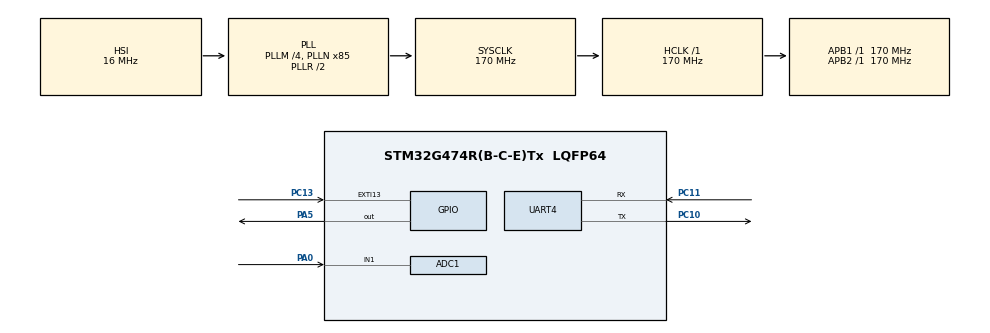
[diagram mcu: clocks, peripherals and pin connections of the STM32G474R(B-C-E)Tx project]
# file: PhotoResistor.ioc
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ADC1.Channel-0\#ChannelRegularConversion=ADC_CHANNEL_1
ADC1.ContinuousConvMode=ENABLE
ADC1.NbrOfConversionFlag=1
ADC1.OffsetNumber-0\#ChannelRegularConversion=ADC_OFFSET_NONE
ADC1.Rank-0\#ChannelRegularConversion=1
ADC1.SamplingTime-0\#ChannelRegularConversion=ADC_SAMPLETIME_12CYCLES_5
ADC1.master=1
Mcu.Family=STM32G4
Mcu.Name=STM32G474R(B-C-E)Tx
Mcu.Package=LQFP64
NUCLEO-G474RE.BUTTON=1
NUCLEO-G474RE.LD2=true
NUCLEO-G474RE.VCP=true
NVIC.EXTI15_10_IRQn=true\:0\:0\:false\:false\:true\:true\:true\:true
NVIC.PriorityGroup=NVIC_PRIORITYGROUP_4
PA0.Mode=IN1-Single-Ended
PA0.Signal=ADC1_IN1
PA13.GPIO_Label=T_SWDIO
PA13.Signal=SYS_JTMS-SWDIO
PA14.GPIO_Label=T_SWCLK
PA14.Signal=SYS_JTCK-SWCLK
PA2.Signal=LPUART1_TX
PA3.Signal=LPUART1_RX
PA5.Signal=GPIO_Output
PB3.GPIO_Label=T_SWO
PB3.Signal=SYS_JTDO-SWO
PC10.Mode=Asynchronous
PC10.Signal=UART4_TX
PC11.Mode=Asynchronous
PC11.Signal=UART4_RX
PC13.Signal=GPXTI13
PC14-OSC32_IN.GPIO_Label=RCC_OSC32_IN
PC14-OSC32_IN.Signal=RCC_OSC32_IN
PC15-OSC32_OUT.GPIO_Label=RCC_OSC32_OUT
PC15-OSC32_OUT.Signal=RCC_OSC32_OUT
PF0-OSC_IN.GPIO_Label=RCC_OSC_IN
PF0-OSC_IN.Signal=RCC_OSC_IN
PF1-OSC_OUT.GPIO_Label=RCC_OSC_OUT
PF1-OSC_OUT.Signal=RCC_OSC_OUT
ProjectManager.HeapSize=0x200
ProjectManager.StackSize=0x400
ProjectManager.TargetToolchain=STM32CubeIDE
RCC.ADC12Freq_Value=170000000
RCC.ADC345Freq_Value=170000000
RCC.AHBFreq_Value=170000000
RCC.APB1Freq_Value=170000000
RCC.APB1TimFreq_Value=170000000
RCC.APB2Freq_Value=170000000
RCC.APB2TimFreq_Value=170000000
RCC.CortexFreq_Value=170000000
RCC.EXTERNAL_CLOCK_VALUE=12288000
RCC.HCLKFreq_Value=170000000
RCC.HSE_VALUE=24000000
RCC.HSI48_VALUE=48000000
RCC.HSI_VALUE=16000000
RCC.LSE_VALUE=32768
RCC.PLLM=RCC_PLLM_DIV4
RCC.PLLN=85
RCC.RTCClockSelection=RCC_RTCCLKSOURCE_LSE
RCC.SYSCLKFreq_VALUE=170000000
RCC.SYSCLKSource=RCC_SYSCLKSOURCE_PLLCLK
RCC.USBFreq_Value=170000000
RCC.VCOOutputFreq_Value=340000000
VP_NUCLEO-G474RE_VS_BSP_COMMON.Mode=COMMON
VP_SYS_VS_DBSignals.Mode=DisableDeadBatterySignals
board=NUCLEO-G474RE

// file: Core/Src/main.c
/* USER CODE BEGIN Header */
/**
  ******************************************************************************
  * @file           : main.c
  * @brief          : Main program body
  ******************************************************************************
  * @attention
  *
  * Copyright (c) 2025 STMicroelectronics.
  * All rights reserved.
  *
  * This software is licensed under terms that can be found in the LICENSE file
  * in the root directory of this software component.
  * If no LICENSE file comes with this software, it is provided AS-IS.
  *
  ******************************************************************************
  */
/* USER CODE END Header */
#include "main.h"

/* USER CODE BEGIN Includes */
#include <string.h>
#include <stdlib.h>
#include <stdbool.h>
/* USER CODE END Includes */

/* USER CODE BEGIN PD */
#define SENSOR_ID "PHOTO1"
#define LOG_INTERVAL_MS 500
#define CRC8_POLYNOMIAL 0x07
/* USER CODE END PD */

COM_InitTypeDef BspCOMInit;
ADC_HandleTypeDef hadc1;

UART_HandleTypeDef huart4;

void SystemClock_Config(void);
static void MX_GPIO_Init(void);
static void MX_ADC1_Init(void);
static void MX_UART4_Init(void);

/* USER CODE BEGIN 0 */
uint8_t calculate_crc8(const uint8_t *data, size_t length) {
    uint8_t crc = 0x00;

    for (size_t i = 0; i < length; i++) {
        crc ^= data[i];
        for (uint8_t bit = 0; bit < 8; bit++) {
            if (crc & 0x80) {
                crc = (crc << 1) ^ CRC8_POLYNOMIAL;
            } else {
                crc <<= 1;
            }
        }
    }

    return crc;
}

uint32_t get_timestamp() {
    /*static uint32_t start_time = 0;
    if (start_time == 0) {
        start_time = HAL_GetTick();
    }
    return HAL_GetTick() - start_time;*/
	return HAL_GetTick();
}
/* USER CODE END 0 */

int main(void)
{

  /* MCU Configuration--------------------------------------------------------*/

  /* Reset of all peripherals, Initializes the Flash interface and the Systick. */
  HAL_Init();

  /* Configure the system clock */
  SystemClock_Config();

  /* Initialize all configured peripherals */
  MX_GPIO_Init();
  MX_ADC1_Init();
  MX_UART4_Init();
  /* USER CODE BEGIN 2 */
  uint16_t adc_value;
  char uart_msg[50];
  /* USER CODE END 2 */

  /* Initialize led */
  BSP_LED_Init(LED_GREEN);

  /* Initialize USER push-button, will be used to trigger an interrupt each time it's pressed.*/
  BSP_PB_Init(BUTTON_USER, BUTTON_MODE_EXTI);

  /* Initialize COM1 port (115200, 8 bits (7-bit data + 1 stop bit), no parity */
  BspCOMInit.BaudRate   = 115200;
  BspCOMInit.WordLength = COM_WORDLENGTH_8B;
  BspCOMInit.StopBits   = COM_STOPBITS_1;
  BspCOMInit.Parity     = COM_PARITY_NONE;
  BspCOMInit.HwFlowCtl  = COM_HWCONTROL_NONE;
  if (BSP_COM_Init(COM1, &BspCOMInit) != BSP_ERROR_NONE)
  {
    Error_Handler();
  }

  /* Infinite loop */
  /* USER CODE BEGIN WHILE */
  uint32_t log_index = 0;
  while (1)
  {

	  HAL_ADC_Start(&hadc1);
	  uint16_t adc_value = HAL_ADC_GetValue(&hadc1);
	  HAL_ADC_Stop(&hadc1);

	      // Process value
	  uint16_t corrected_value = 4095 - adc_value;
	  uint32_t timestamp = get_timestamp();

	      // Format data packet - increased buffer sizes
	  char data_packet[60];  // Increased from 50
	  int packet_len = snprintf(data_packet, sizeof(data_packet),
	                              "%lu,%lu,%s,%hu",
	                              log_index++,
	                              timestamp,
	                              SENSOR_ID,
	                              corrected_value);

	      // Calculate CRC
	  uint8_t crc = calculate_crc8((uint8_t*)data_packet, packet_len);

	      // Final packet - increased buffer size
	  char final_packet[70];  // Increased from 60
	  int final_len = snprintf(final_packet, sizeof(final_packet),
	                            "[%s]*%02X\r\n",  // Added \r for Windows compatibility
	                            data_packet,
	                            crc);

	      // Transmit with error checking
	  HAL_StatusTypeDef status = HAL_UART_Transmit(&huart4,
	                                                 (uint8_t*)final_packet,
	                                                 final_len,  // Use final_len instead of strlen
	                                                 HAL_MAX_DELAY);

	  if (status != HAL_OK) {
	          // Handle transmission error (e.g., toggle LED)
		  BSP_LED_Toggle(LED_GREEN);
	  }

	  HAL_Delay(LOG_INTERVAL_MS);

    /* USER CODE END WHILE */

  }
}

void SystemClock_Config(void)
{
  RCC_OscInitTypeDef RCC_OscInitStruct = {0};
  RCC_ClkInitTypeDef RCC_ClkInitStruct = {0};

  /** Configure the main internal regulator output voltage
  */
  HAL_PWREx_ControlVoltageScaling(PWR_REGULATOR_VOLTAGE_SCALE1_BOOST);

  /** Initializes the RCC Oscillators according to the specified parameters
  * in the RCC_OscInitTypeDef structure.
  */
  RCC_OscInitStruct.OscillatorType = RCC_OSCILLATORTYPE_HSI;
  RCC_OscInitStruct.HSIState = RCC_HSI_ON;
  RCC_OscInitStruct.HSICalibrationValue = RCC_HSICALIBRATION_DEFAULT;
  RCC_OscInitStruct.PLL.PLLState = RCC_PLL_ON;
  RCC_OscInitStruct.PLL.PLLSource = RCC_PLLSOURCE_HSI;
  RCC_OscInitStruct.PLL.PLLM = RCC_PLLM_DIV4;
  RCC_OscInitStruct.PLL.PLLN = 85;
  RCC_OscInitStruct.PLL.PLLP = RCC_PLLP_DIV2;
  RCC_OscInitStruct.PLL.PLLQ = RCC_PLLQ_DIV2;
  RCC_OscInitStruct.PLL.PLLR = RCC_PLLR_DIV2;
  if (HAL_RCC_OscConfig(&RCC_OscInitStruct) != HAL_OK)
  {
    Error_Handler();
  }

  /** Initializes the CPU, AHB and APB buses clocks
  */
  RCC_ClkInitStruct.ClockType = RCC_CLOCKTYPE_HCLK|RCC_CLOCKTYPE_SYSCLK
                              |RCC_CLOCKTYPE_PCLK1|RCC_CLOCKTYPE_PCLK2;
  RCC_ClkInitStruct.SYSCLKSource = RCC_SYSCLKSOURCE_PLLCLK;
  RCC_ClkInitStruct.AHBCLKDivider = RCC_SYSCLK_DIV1;
  RCC_ClkInitStruct.APB1CLKDivider = RCC_HCLK_DIV1;
  RCC_ClkInitStruct.APB2CLKDivider = RCC_HCLK_DIV1;

  if (HAL_RCC_ClockConfig(&RCC_ClkInitStruct, FLASH_LATENCY_4) != HAL_OK)
  {
    Error_Handler();
  }
}

static void MX_ADC1_Init(void)
{

  ADC_MultiModeTypeDef multimode = {0};
  ADC_ChannelConfTypeDef sConfig = {0};

  /** Common config
  */
  hadc1.Instance = ADC1;
  hadc1.Init.ClockPrescaler = ADC_CLOCK_SYNC_PCLK_DIV4;
  hadc1.Init.Resolution = ADC_RESOLUTION_12B;
  hadc1.Init.DataAlign = ADC_DATAALIGN_RIGHT;
  hadc1.Init.GainCompensation = 0;
  hadc1.Init.ScanConvMode = ADC_SCAN_DISABLE;
  hadc1.Init.EOCSelection = ADC_EOC_SINGLE_CONV;
  hadc1.Init.LowPowerAutoWait = DISABLE;
  hadc1.Init.ContinuousConvMode = ENABLE;
  hadc1.Init.NbrOfConversion = 1;
  hadc1.Init.DiscontinuousConvMode = DISABLE;
  hadc1.Init.ExternalTrigConv = ADC_SOFTWARE_START;
  hadc1.Init.ExternalTrigConvEdge = ADC_EXTERNALTRIGCONVEDGE_NONE;
  hadc1.Init.DMAContinuousRequests = DISABLE;
  hadc1.Init.Overrun = ADC_OVR_DATA_PRESERVED;
  hadc1.Init.OversamplingMode = DISABLE;
  if (HAL_ADC_Init(&hadc1) != HAL_OK)
  {
    Error_Handler();
  }

  /** Configure the ADC multi-mode
  */
  multimode.Mode = ADC_MODE_INDEPENDENT;
  if (HAL_ADCEx_MultiModeConfigChannel(&hadc1, &multimode) != HAL_OK)
  {
    Error_Handler();
  }

  /** Configure Regular Channel
  */
  sConfig.Channel = ADC_CHANNEL_1;
  sConfig.Rank = ADC_REGULAR_RANK_1;
  sConfig.SamplingTime = ADC_SAMPLETIME_12CYCLES_5;
  sConfig.SingleDiff = ADC_SINGLE_ENDED;
  sConfig.OffsetNumber = ADC_OFFSET_NONE;
  sConfig.Offset = 0;
  if (HAL_ADC_ConfigChannel(&hadc1, &sConfig) != HAL_OK)
  {
    Error_Handler();
  }

}

static void MX_UART4_Init(void)
{

  huart4.Instance = UART4;
  huart4.Init.BaudRate = 115200;
  huart4.Init.WordLength = UART_WORDLENGTH_8B;
  huart4.Init.StopBits = UART_STOPBITS_1;
  huart4.Init.Parity = UART_PARITY_NONE;
  huart4.Init.Mode = UART_MODE_TX_RX;
  huart4.Init.HwFlowCtl = UART_HWCONTROL_NONE;
  huart4.Init.OverSampling = UART_OVERSAMPLING_16;
  huart4.Init.OneBitSampling = UART_ONE_BIT_SAMPLE_DISABLE;
  huart4.Init.ClockPrescaler = UART_PRESCALER_DIV1;
  huart4.AdvancedInit.AdvFeatureInit = UART_ADVFEATURE_NO_INIT;
  if (HAL_UART_Init(&huart4) != HAL_OK)
  {
    Error_Handler();
  }
  if (HAL_UARTEx_SetTxFifoThreshold(&huart4, UART_TXFIFO_THRESHOLD_1_8) != HAL_OK)
  {
    Error_Handler();
  }
  if (HAL_UARTEx_SetRxFifoThreshold(&huart4, UART_RXFIFO_THRESHOLD_1_8) != HAL_OK)
  {
    Error_Handler();
  }
  if (HAL_UARTEx_DisableFifoMode(&huart4) != HAL_OK)
  {
    Error_Handler();
  }

}

static void MX_GPIO_Init(void)
{

  /* GPIO Ports Clock Enable */
  __HAL_RCC_GPIOC_CLK_ENABLE();
  __HAL_RCC_GPIOF_CLK_ENABLE();
  __HAL_RCC_GPIOA_CLK_ENABLE();
  __HAL_RCC_GPIOB_CLK_ENABLE();

}

void Error_Handler(void)
{
  __disable_irq();
  while (1)
  {
  }
}
